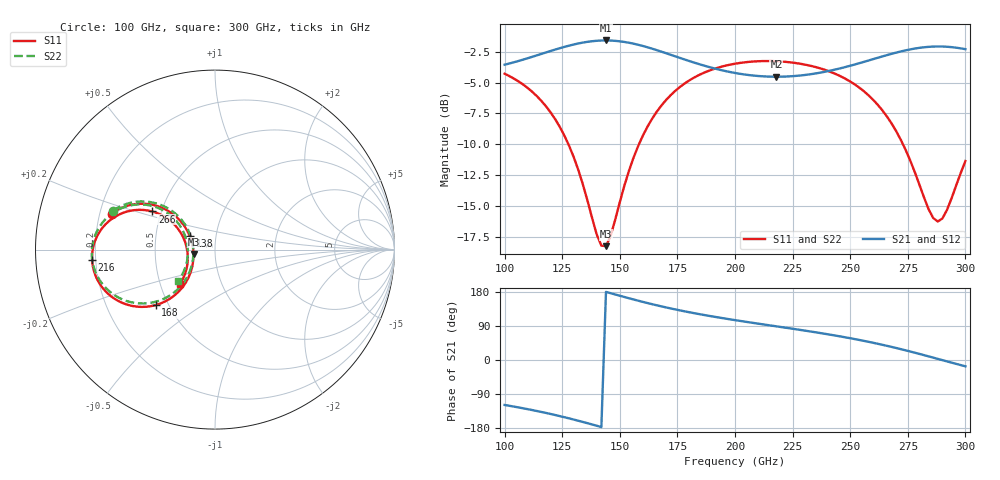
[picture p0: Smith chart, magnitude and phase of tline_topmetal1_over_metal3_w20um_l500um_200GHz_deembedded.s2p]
! Created with skrf 2.0.1 (http://scikit-rf.org).
# GHz S DB R 50.0
!freq dBS11 angS11 dBS21 angS21 dBS12 angS12 dBS22 angS22
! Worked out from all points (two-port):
!   101 points, 100 GHz to 300 GHz, reference 50 ohm
!   highest |S21| = -1.59 dB at 144 GHz (marker M1); lowest = -4.5 dB at 218 GHz (marker M2)
!   |S21| within 3 dB of the highest: start of sweep to end of sweep
!   lowest |S11| = -18.3 dB at 144 GHz (marker M3), VSWR 1.28, Z = 39.3 - j1.99 ohm
!   |S11| at or under -10 dB: 127.7 GHz to 158.3 GHz (30.61 GHz wide, 21.4 % of centre); 272.9 GHz to end of sweep
!   |S22| runs from -18.3 to -3.3 dB; largest |S21 - S12| = 1.3e-13
!   S11 on the Smith chart (normalised r, x): 100 GHz: 0.25, +0.16; 138 GHz: 0.75, +0.11; 168 GHz: 0.43, -0.33; 216 GHz: 0.19, -0.04; 266 GHz: 0.45, +0.23; 300 GHz: 0.63, -0.26
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100  -4.29 160.8  -3.55 -118.7  -3.55 -118.7  -4.29 159.2
120  -7.43 144.2  -2.44 -142.5  -2.44 -142.5  -7.43 142.3
128  -10.12 139.9  -2.01 -154.1  -2.01 -154.1  -10.13 137.9
134  -13.27 142.2  -1.76 -163.5  -1.76 -163.5  -13.27 140.1
138  -15.99 152.0  -1.65 -170.1  -1.65 -170.1  -16.00 149.8
142  -18.21 175.8  -1.59 -176.9  -1.59 -176.9  -18.23 173.5
144  -18.25 -168.2  -1.59 179.7  -1.59 179.7  -18.27 -170.4
156  -11.06 -130.8  -1.85 159.7  -1.85 159.7  -11.07 -133.1
168  -6.87 -137.0  -2.49 141.6  -2.49 141.6  -6.88 -139.5
182  -4.62 -149.1  -3.37 123.9  -3.37 123.9  -4.63 -151.9
200  -3.47 -163.6  -4.22 105.2  -4.22 105.2  -3.48 -166.7
216  -3.26 -175.3  -4.52 90.6  -4.52 90.6  -3.27 -178.6
218  -3.27 -176.7  -4.53 88.8  -4.53 88.8  -3.28 179.9
234  -3.70 171.8  -4.29 74.1  -4.29 74.1  -3.70 168.1
252  -5.15 158.3  -3.53 55.2  -3.53 55.2  -5.16 154.3
266  -7.76 148.7  -2.77 37.3  -2.77 37.3  -7.78 144.4
268  -8.32 147.8  -2.67 34.5  -2.67 34.5  -8.35 143.4
280  -13.25 153.0  -2.19 16.1  -2.19 16.1  -13.33 148.3
284  -15.24 165.1  -2.11 9.6  -2.11 9.6  -15.37 160.4
288  -16.26 -174.3  -2.08 3.0  -2.08 3.0  -16.41 -178.7
292  -15.32 -153.4  -2.10 -3.6  -2.10 -3.6  -15.45 -157.4
300  -11.36 -135.6  -2.30 -16.7  -2.30 -16.7  -11.41 -139.7
